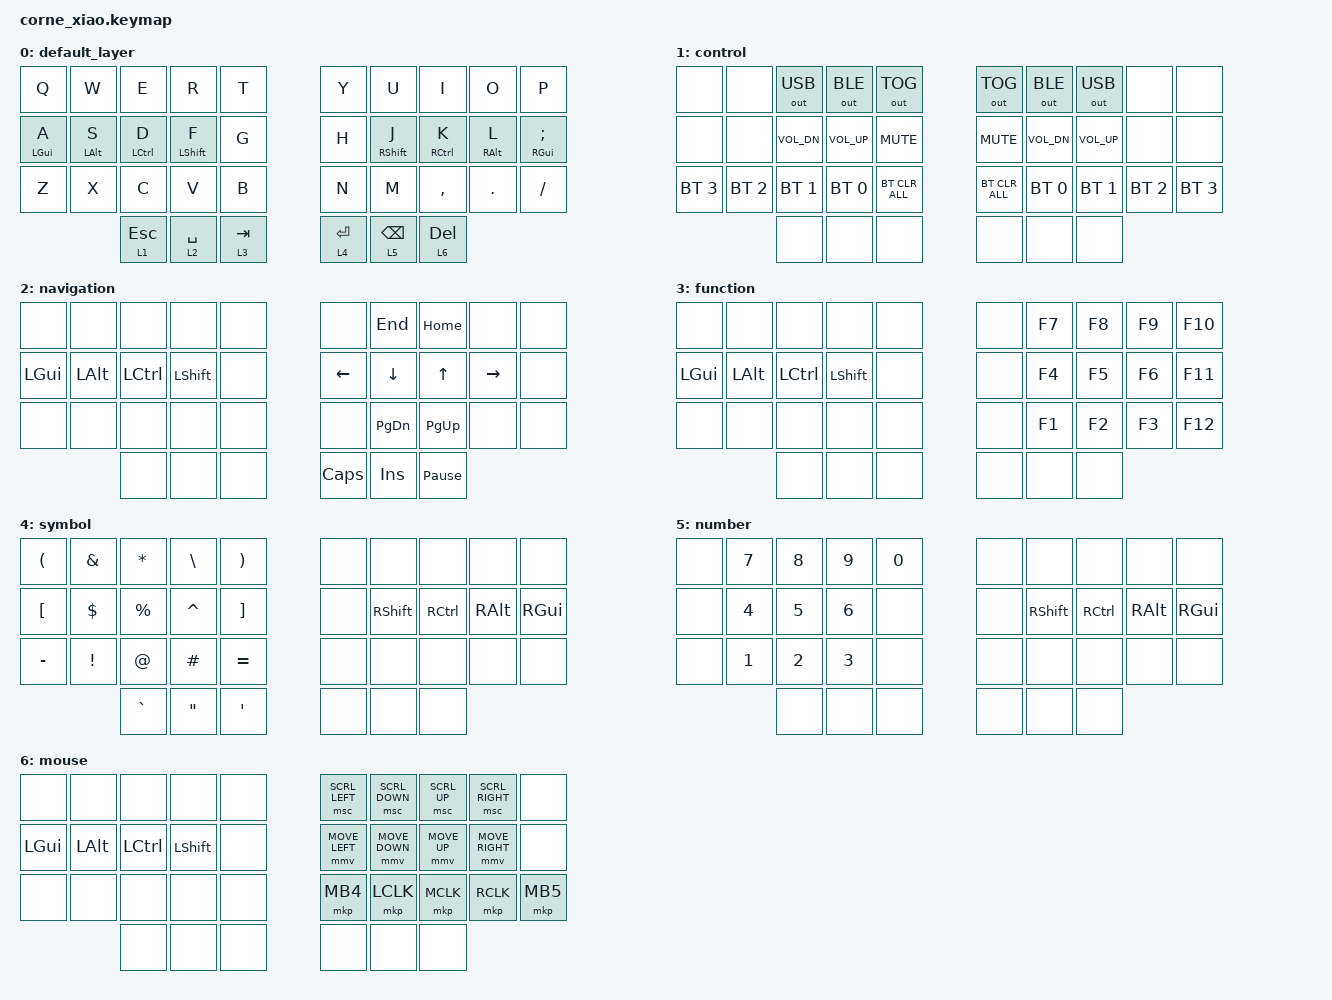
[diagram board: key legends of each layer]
/*
 * Copyright (c) 2020 The ZMK Contributors
 *
 * SPDX-License-Identifier: MIT
 */

#include <behaviors.dtsi>
#include <dt-bindings/zmk/bt.h>
#include <dt-bindings/zmk/keys.h>
#include <dt-bindings/zmk/outputs.h>
#include <dt-bindings/zmk/pointing.h>

#define COMBO_TIMEOUT 60
#define DEF 0
#define ONE 1
#define TWO 2
#define THR 3
#define FOU 4
#define FIV 5
#define SIX 6

#define LEFT_KEYS   0 1 2 3 4   10 11 12 13 14   20 21 22 23 24
#define RIGHT_KEYS  5 6 7 8 9   15 16 17 18 19   25 26 27 28 29
#define LEFT_THUMBS 30 31 32
#define RIGHT_THUMBS 33 34 35

/ {
    combos {
        compatible = "zmk,combos";

        combo_copy {
            timeout-ms = <COMBO_TIMEOUT>;
            key-positions = <21 22>;
            bindings = <&kp LC(C)>;
        };

        combo_paste {
            timeout-ms = <COMBO_TIMEOUT>;
            key-positions = <22 23>;
            bindings = <&kp LC(V)>;
        };

        combo_undo {
            timeout-ms = <COMBO_TIMEOUT>;
            bindings = <&kp LC(Z)>;
            key-positions = <20 21>;
        };

        combo_f18 {
            timeout-ms = <COMBO_TIMEOUT>;
            key-positions = <27 28>;
            bindings = <&kp F18>;
        };
    };
};

/ {
    behaviors {
        tll: thumb_layer_left {
            compatible = "zmk,behavior-hold-tap";
            flavor = "balanced";
            bindings = <&mo>, <&kp>;
            #binding-cells = <2>;
            tapping-term-ms = <160>;
            quick-tap-ms = <160>;
            require-prior-idle-ms = <100>;
            hold-trigger-key-positions = <LEFT_KEYS RIGHT_KEYS RIGHT_THUMBS>;
            hold-trigger-on-release;
        };
        tlr: thumb_layer_right {
            compatible = "zmk,behavior-hold-tap";
            flavor = "balanced";
            bindings = <&mo>, <&kp>;
            #binding-cells = <2>;
            tapping-term-ms = <160>;
            quick-tap-ms = <160>;
            require-prior-idle-ms = <100>;
            hold-trigger-key-positions = <LEFT_KEYS RIGHT_KEYS LEFT_THUMBS>;
            hold-trigger-on-release;
        };

        hml: homerow_mods_left {
            compatible = "zmk,behavior-hold-tap";
            flavor = "balanced";
            bindings = <&kp>, <&kp>;
            #binding-cells = <2>;
            tapping-term-ms = <120>;
            quick-tap-ms = <160>;
            require-prior-idle-ms = <100>;
            hold-trigger-key-positions = <RIGHT_KEYS LEFT_THUMBS RIGHT_THUMBS>;
            hold-trigger-on-release;
        };
        hmr: homerow_mods_right {
            compatible = "zmk,behavior-hold-tap";
            flavor = "balanced";
            bindings = <&kp>, <&kp>;
            #binding-cells = <2>;
            tapping-term-ms = <120>;
            quick-tap-ms = <160>;
            require-prior-idle-ms = <100>;
            hold-trigger-key-positions = <LEFT_KEYS LEFT_THUMBS RIGHT_THUMBS>;
            hold-trigger-on-release;
        };
    };
};

/ {
    keymap {
        compatible = "zmk,keymap";

        // |----------------------------------------------------------------------------------------------------------------------------------------------------------------|
        // |      Q      |      W      |      E      |      R      |      T      |                    |      Y      |      U      |      I      |      O      |      P      |
        // |      A      |      S      |      D      |      F      |      G      |                    |      H      |      J      |      K      |      L      |      '      |
        // |      Z      |      X      |      C      |      V      |      B      |                    |      N      |      M      |      ,      |      .      |      /      |
        // |                           |     ESC     |    SPACE    |     TAB     |                    |     RET     |    BSPC     |     DEL     |                           |
        // |----------------------------------------------------------------------------------------------------------------------------------------------------------------|

        default_layer {
            bindings = <
  &kp Q       &kp W       &kp E        &kp R        &kp T      &kp Y  &kp U        &kp I        &kp O       &kp P
  &hml LGUI A  &hml LALT S  &hml LCTRL D  &hml LSHFT F  &kp G      &kp H  &hmr RSHFT J  &hmr RCTRL K  &hmr RALT L  &hmr RGUI SEMI
  &kp Z       &kp X       &kp C        &kp V        &kp B      &kp N  &kp M        &kp COMMA    &kp DOT     &kp FSLH
                          &tll 1 ESC    &tll 2 SPACE  &tll 3 TAB         &tlr 4 RET    &tlr 5 BSPC   &tlr 6 DEL
            >;
        };

        control {
            bindings = <
  &none         &none         &out OUT_USB  &out OUT_BLE  &out OUT_TOG    &out OUT_TOG    &out OUT_BLE  &out OUT_USB  &none         &none
  &none         &none         &kp C_VOL_DN  &kp C_VOL_UP  &kp C_MUTE      &kp C_MUTE      &kp C_VOL_DN  &kp C_VOL_UP  &none         &none
  &bt BT_SEL 3  &bt BT_SEL 2  &bt BT_SEL 1  &bt BT_SEL 0  &bt BT_CLR_ALL  &bt BT_CLR_ALL  &bt BT_SEL 0  &bt BT_SEL 1  &bt BT_SEL 2  &bt BT_SEL 3
                              &none         &none         &none                           &none         &none         &none
            >;
        };

        navigation {
            bindings = <
  &none     &none     &none      &none      &none  &none     &kp END    &kp HOME   &none            &none
  &kp LGUI  &kp LALT  &kp LCTRL  &kp LSHFT  &none  &kp LEFT  &kp DOWN   &kp UP     &kp RIGHT        &none
  &none     &none     &none      &none      &none  &none     &kp PG_DN  &kp PG_UP  &none            &none
                      &none      &none      &none            &kp CAPS   &kp INS    &kp PAUSE_BREAK
            >;
        };

        function {
            bindings = <
  &none     &none     &none      &none      &none  &none  &kp F7  &kp F8  &kp F9  &kp F10
  &kp LGUI  &kp LALT  &kp LCTRL  &kp LSHFT  &none  &none  &kp F4  &kp F5  &kp F6  &kp F11
  &none     &none     &none      &none      &none  &none  &kp F1  &kp F2  &kp F3  &kp F12
                      &none      &none      &none         &none   &none   &none
            >;
        };

        symbol {
            bindings = <
  &kp LPAR   &kp AMPS  &kp STAR   &kp BSLH   &kp RPAR   &none  &none      &none      &none     &none
  &kp LBKT   &kp DLLR  &kp PRCNT  &kp CARET  &kp RBKT   &none  &kp RSHFT  &kp RCTRL  &kp RALT  &kp RGUI
  &kp MINUS  &kp EXCL  &kp AT     &kp HASH   &kp EQUAL  &none  &none      &none      &none     &none
                       &kp GRAVE  &kp DQT    &kp SQT           &none      &none      &none
            >;
        };

        number {
            bindings = <
  &none  &kp N7  &kp N8  &kp N9  &kp N0  &none  &none      &none      &none     &none
  &none  &kp N4  &kp N5  &kp N6  &none   &none  &kp RSHFT  &kp RCTRL  &kp RALT  &kp RGUI
  &none  &kp N1  &kp N2  &kp N3  &none   &none  &none      &none      &none     &none
                 &none   &none   &none          &none      &none      &none
            >;
        };

        mouse {
            bindings = <
  &none     &none     &none      &none      &none  &msc SCRL_LEFT  &msc SCRL_DOWN  &msc SCRL_UP  &msc SCRL_RIGHT  &none
  &kp LGUI  &kp LALT  &kp LCTRL  &kp LSHFT  &none  &mmv MOVE_LEFT  &mmv MOVE_DOWN  &mmv MOVE_UP  &mmv MOVE_RIGHT  &none
  &none     &none     &none      &none      &none  &mkp MB4        &mkp LCLK       &mkp MCLK     &mkp RCLK        &mkp MB5
                      &none      &none      &none                  &none           &none         &none
            >;
        };
    };
};
